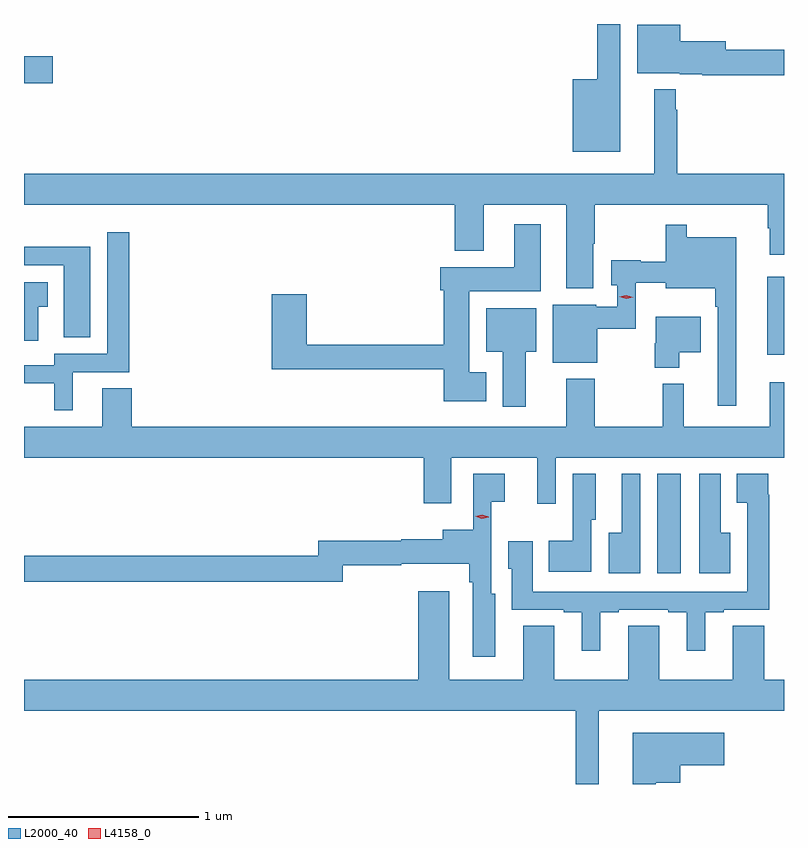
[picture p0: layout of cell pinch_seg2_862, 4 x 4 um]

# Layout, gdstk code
import gdstk
lib = gdstk.Library(unit=1e-6, precision=1e-09)
def R(c, l, rs):  # rectangles x0, y0, x1, y1
    for r in rs: c.add(gdstk.rectangle(r[:2], r[2:], *l))
def P(c, l, *ps):  # polygons
    for p in ps: c.add(gdstk.Polygon(p, *l))
L2000_40 = (2000, 40)
L4158_0 = (4158, 0)

pinch_seg2_862 = lib.new_cell('pinch_seg2_862')
R(pinch_seg2_862, L2000_40, [(487.484,600.408,487.609,600.931), (488.063,601.559,488.152,601.969), (484.152,602.986,484.303,603.128)])
P(pinch_seg2_862, L2000_40, [(487.291,603.299),(487.17,603.299),(487.17,603.007),(487.04,603.007),(487.04,602.627),(487.291,602.627)],
  [(488.152,603.164),(487.846,603.164),(487.846,603.207),(487.606,603.207),(487.606,603.295),(487.379,603.295),(487.379,603.041),(487.602,603.041),(487.602,603.035),(487.721,603.035),(487.721,603.028),(488.152,603.028)],
  [(487.591,602.849),(487.583,602.849),(487.583,602.956),(487.469,602.956),(487.469,602.512),(484.152,602.512),(484.152,602.348),(486.419,602.348),(486.419,602.105),(486.571,602.105),(486.571,602.348),(487.007,602.348),(487.007,601.907),(487.147,601.907),(487.147,602.143),(487.155,602.143),(487.155,602.348),(488.067,602.348),(488.067,602.225),(488.078,602.225),(488.078,602.085),(488.152,602.085),(488.152,602.512),(487.591,602.512)],
  [(486.586,601.465),(486.496,601.465),(486.496,601.892),(486.871,601.892),(486.871,602.245),(486.731,602.245),(486.731,602.02),(486.344,602.02),(486.344,601.899),(486.362,601.899),(486.362,601.61),(485.639,601.61),(485.639,601.876),(485.456,601.876),(485.456,601.482),(486.362,601.482),(486.362,601.313),(486.586,601.313)],
  [(487.9,602.176),(487.639,602.176),(487.639,602.242),(487.529,602.242),(487.529,602.047),(487.398,602.047),(487.398,602.055),(487.244,602.055),(487.244,601.925),(487.275,601.925),(487.275,601.812),(487.164,601.812),(487.164,601.822),(486.935,601.822),(486.935,601.517),(487.168,601.517),(487.168,601.696),(487.371,601.696),(487.371,601.937),(487.529,601.937),(487.529,601.907),(487.791,601.907),(487.791,601.811),(487.803,601.811),(487.803,601.29),(487.9,601.29)],
  [(484.408,601.467),(484.706,601.467),(484.706,602.203),(484.59,602.203),(484.59,601.563),(484.311,601.563),(484.311,601.503),(484.152,601.503),(484.152,601.407),(484.31,601.407),(484.31,601.266),(484.408,601.266)],
  [(484.501,602.127),(484.152,602.127),(484.152,602.028),(484.361,602.028),(484.361,601.65),(484.501,601.65)],
  [(484.228,601.81),(484.276,601.81),(484.276,601.939),(484.152,601.939),(484.152,601.632),(484.228,601.632)],
  [(486.793,601.574),(486.847,601.574),(486.847,601.804),(486.584,601.804),(486.584,601.574),(486.671,601.574),(486.671,601.284),(486.793,601.284)],
  [(487.6,601.571),(487.714,601.571),(487.714,601.759),(487.478,601.759),(487.478,601.619),(487.471,601.619),(487.471,601.49),(487.6,601.49)],
  [(486.951,601.016),(488.152,601.016),(488.152,601.414),(488.078,601.414),(488.078,601.18),(487.625,601.18),(487.625,601.405),(487.515,601.405),(487.515,601.18),(487.155,601.18),(487.155,601.432),(487.007,601.432),(487.007,601.18),(484.718,601.18),(484.718,601.382),(484.565,601.382),(484.565,601.18),(484.152,601.18),(484.152,601.016),(486.257,601.016),(486.257,600.777),(486.4,600.777),(486.4,601.016),(486.854,601.016),(486.854,600.774),(486.951,600.774)],
  [(487.87,600.622),(487.819,600.622),(487.819,600.931),(487.706,600.931),(487.706,600.408),(487.87,600.408)],
  [(487.137,600.69),(487.162,600.69),(487.162,600.931),(487.041,600.931),(487.041,600.58),(486.914,600.58),(486.914,600.416),(487.137,600.416)],
  [(487.395,600.931),(487.298,600.931),(487.298,600.622),(487.229,600.622),(487.229,600.408),(487.395,600.408)],
  [(487.186,600.204),(487.282,600.204),(487.282,600.216),(487.544,600.216),(487.544,600.204),(487.64,600.204),(487.64,600),(487.738,600),(487.738,600.204),(487.834,600.204),(487.834,600.216),(488.075,600.216),(488.075,600.821),(488.068,600.821),(488.068,600.931),(487.904,600.931),(487.904,600.778),(487.959,600.778),(487.959,600.312),(486.829,600.312),(486.829,600.577),(486.701,600.577),(486.701,600.432),(486.719,600.432),(486.719,600.216),(486.992,600.216),(486.992,600.204),(487.088,600.204),(487.088,600),(487.186,600)],
  [(486.631,600.3),(486.612,600.3),(486.612,600.785),(486.682,600.785),(486.682,600.931),(486.516,600.931),(486.516,600.637),(486.356,600.637),(486.356,600.588),(486.138,600.588),(486.138,600.58),(485.701,600.58),(485.701,600.5),(484.152,600.5),(484.152,600.364),(485.83,600.364),(485.83,600.451),(486.138,600.451),(486.138,600.458),(486.496,600.458),(486.496,600.362),(486.515,600.362),(486.515,599.97),(486.631,599.97)],
  [(487.177,599.684),(488.152,599.684),(488.152,599.848),(488.047,599.848),(488.047,600.131),(487.883,600.131),(487.883,599.848),(487.495,599.848),(487.495,600.131),(487.331,600.131),(487.331,599.848),(486.943,599.848),(486.943,600.131),(486.779,600.131),(486.779,599.848),(486.391,599.848),(486.391,600.313),(486.227,600.313),(486.227,599.848),(484.152,599.848),(484.152,599.684),(487.056,599.684),(487.056,599.299),(487.177,599.299)],
  [(487.477,599.306),(487.606,599.306),(487.606,599.399),(487.837,599.399),(487.837,599.569),(487.355,599.569),(487.355,599.299),(487.477,599.299)])
P(pinch_seg2_862, L4158_0, [(486.562,600.696),(486.528,600.708),(486.527,600.708),(486.528,600.708),(486.563,600.716),(486.597,600.705),(486.597,600.704),(486.597,600.704)],
  [(487.321,601.852),(487.286,601.863),(487.286,601.864),(487.286,601.864),(487.322,601.872),(487.358,601.861),(487.358,601.861),(487.358,601.861)])

lib.write_gds('pinch_seg2_862.gds')
